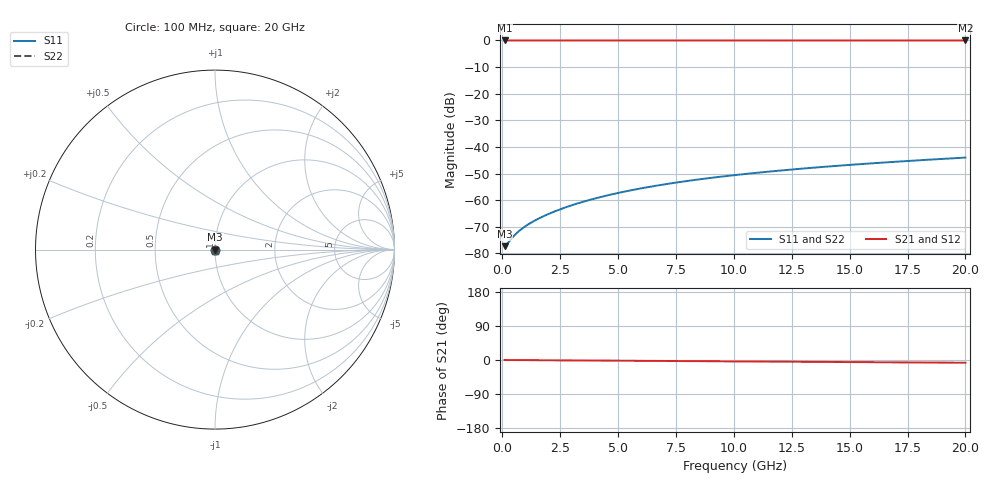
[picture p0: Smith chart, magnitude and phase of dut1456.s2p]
! Touchstone file exported from HFSS 2026.1.0
!  File:  C:/ffzhzh/LocalFiles/Ansys_Project_Files/temp_train_TSV_1456_1783198020_55132.aedt
!  Generated:  04:48:32 AM Jul  5, 2026
!  Design:  TSV
!  Project:  temp_train_TSV_1456_1783198020_55132
! Variables:
!  h_bsmrdl = 2um
!  h_ox = 20um
!  h_rdl = 5um
!  h_sub = 73.99um
!  h_tmrdl = 5um
!  h_tsv = 73.99um
!  h_via = 3um
!  l_bsmrdl = 300um
!  l_sub = 418.64um
!  l_tmrdl = 200um
!  m_sub = 200um
!  pitch = 35.81um
!  r_tsv = 9.32um
!  s_tmrdl = 10um
!  w_bsmrdl = 18um
!  w_sub = 500um
!  w_tmrdl = 12um
!  x_tsv_center1 = 206um
!  x_tsv_center2 = 524um
!  x_tsv_center3 = 736um
!  x_tsv_center4 = 1054um
!  x_tsv_center5 = 1266um
!  x_tsv_center6 = 1584um
# GHz S MA R 50.000000
! Terminal data exported
! Port[1] = TSV1_1_T1
! Port[2] = TSV1_1_T2
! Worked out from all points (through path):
!   200 points, 100 MHz to 20 GHz, reference 50 ohm
!   highest |S21| = 0.00 dB at 100 MHz (marker M1); lowest = 0.0 dB at 20 GHz (marker M2)
!   group delay of S21, straight-line fit = 1.01 ps
!   lowest |S11| = -77.3 dB at 100 MHz (marker M3), VSWR 1.00, Z = 50 + j0.00123 ohm
!   |S11| at or under -10 dB: start of sweep to end of sweep
!   |S22| runs from -77.3 to -44.0 dB; largest |S21 - S12| = 5.4e-15
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0.1  0.0001371 5.1  0.9999 -0.0  0.9999 -0.0  0.0001371 5.1
! Gamma 0 0 0 0
! Port Impedance 50 0 50 0
0.2  0.0001503 8.3  0.9999 -0.1  0.9999 -0.1  0.0001503 8.3
0.5  0.0002131 4.6  0.9998 -0.2  0.9998 -0.2  0.0002131 4.6
0.7  0.0002588 -2.8  0.9997 -0.3  0.9997 -0.3  0.0002588 -2.8
0.8  0.0002813 -6.7  0.9997 -0.3  0.9997 -0.3  0.0002813 -6.7
1  0.0003256 -14.3  0.9997 -0.4  0.9997 -0.4  0.0003256 -14.3
1.3  0.0003919 -24.0  0.9996 -0.5  0.9996 -0.5  0.0003919 -24.0
1.8  0.0005054 -36.0  0.9996 -0.7  0.9996 -0.7  0.0005054 -36.0
2.3  0.0006252 -44.2  0.9995 -0.9  0.9995 -0.9  0.0006252 -44.2
2.9  0.0007774 -51.0  0.9995 -1.1  0.9995 -1.1  0.0007774 -51.0
3.5  0.0009379 -55.7  0.9995 -1.3  0.9995 -1.3  0.000938 -55.7
4.2  0.001134 -59.8  0.9994 -1.5  0.9994 -1.5  0.001134 -59.8
5  0.001368 -63.3  0.9993 -1.8  0.9993 -1.8  0.001368 -63.3
5.9  0.001641 -66.4  0.9993 -2.2  0.9993 -2.2  0.001641 -66.4
6.8  0.001921 -68.9  0.9992 -2.5  0.9992 -2.5  0.001921 -68.9
8.3  0.002399 -72.3  0.9991 -3.0  0.9991 -3.0  0.002399 -72.3
10.1  0.002983 -75.4  0.9991 -3.7  0.9991 -3.7  0.002983 -75.4
11.7  0.003508 -77.6  0.999 -4.3  0.999 -4.3  0.003508 -77.6
13.4  0.004072 -79.6  0.9989 -4.9  0.9989 -4.9  0.004072 -79.6
15  0.004607 -81.2  0.9989 -5.5  0.9989 -5.5  0.004607 -81.2
16.7  0.005181 -82.7  0.9988 -6.1  0.9988 -6.1  0.005181 -82.7
20  0.006317 -85.2  0.9987 -7.3  0.9987 -7.3  0.006317 -85.2
